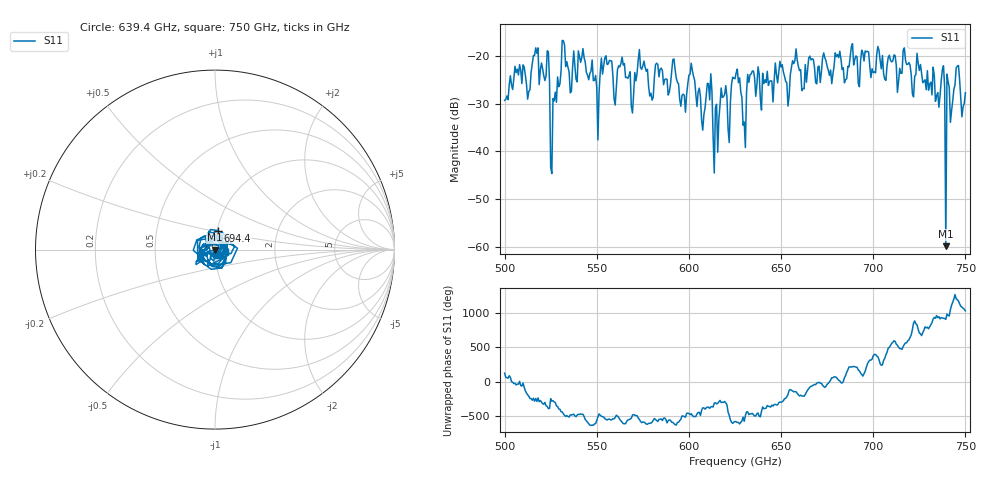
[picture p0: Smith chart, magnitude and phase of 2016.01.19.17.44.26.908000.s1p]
!Created with skrf (http://scikit-rf.org).
# GHz S RI R 50.0
!freq ReS11 ImS11
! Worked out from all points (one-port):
!   401 points, 500 GHz to 750 GHz, reference 50 ohm
!   lowest |S11| = -59.9 dB at 739.4 GHz (marker M1), VSWR 1.00, Z = 49.9 - j0.0103 ohm
!   |S11| at or under -10 dB: start of sweep to end of sweep
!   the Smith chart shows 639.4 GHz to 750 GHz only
!   S11 on the Smith chart (normalised r, x): 639.4 GHz: 1.01, -0.05; 694.4 GHz: 1.01, +0.22; 750 GHz: 1.05, -0.07
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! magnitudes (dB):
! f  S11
! 500 GHz  -29.3
! 513.1 GHz  -27.5
! 516.9 GHz  -18.3
! 523.1 GHz  -18.9
! 526.2 GHz  -29.0
! 531.2 GHz  -16.8
! 550 GHz  -26.7
! 562.5 GHz  -22.3
! 570 GHz  -28.0
! 573.8 GHz  -22.4
! 579.4 GHz  -27.8
! 593.8 GHz  -25.5
! 601.9 GHz  -23.1
! 607.5 GHz  -35.6
! 611.2 GHz  -29.2
! 614.4 GHz  -30.9
! 625 GHz  -24.8
! 629.4 GHz  -34.5
! 633.1 GHz  -24.0
! 639.4 GHz  -31.4
! 656.2 GHz  -21.0
! 687.5 GHz  -20.1
! 694.4 GHz  -19.4
! 718.8 GHz  -21.8
! 737.5 GHz  -22.9
! 739.4 GHz  -59.9
! 745.6 GHz  -22.2
! 750 GHz  -27.7
